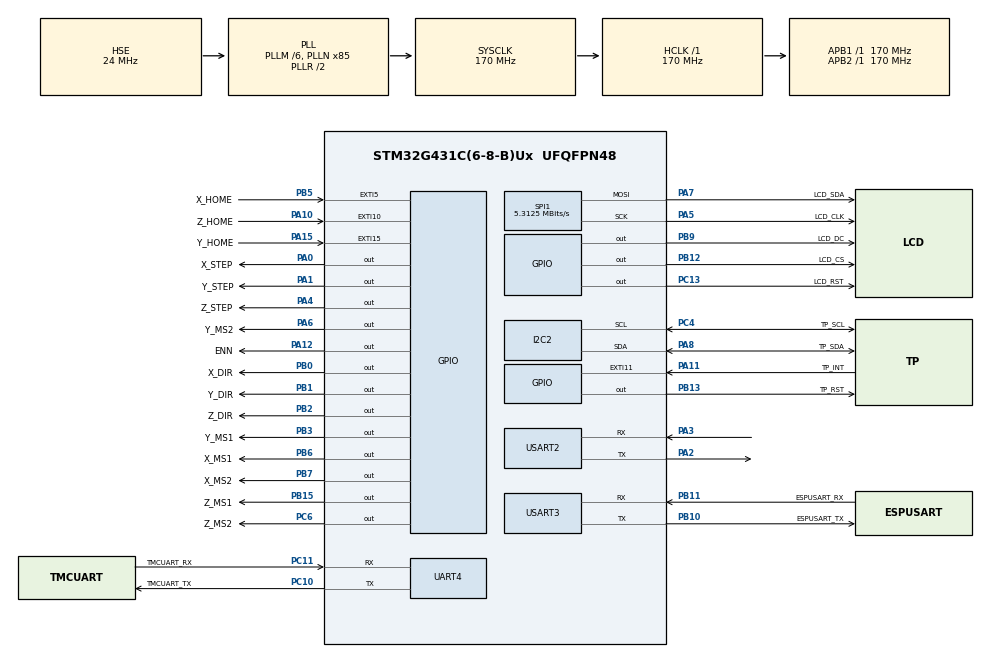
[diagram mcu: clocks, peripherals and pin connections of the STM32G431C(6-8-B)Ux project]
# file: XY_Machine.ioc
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I2C2.Timing=0x30A0A7FB
Mcu.Family=STM32G4
Mcu.Name=STM32G431C(6-8-B)Ux
Mcu.Package=UFQFPN48
NVIC.EXTI15_10_IRQn=true\:0\:0\:false\:false\:true\:true\:true\:true
NVIC.EXTI9_5_IRQn=true\:0\:0\:false\:false\:true\:true\:true\:true
NVIC.PriorityGroup=NVIC_PRIORITYGROUP_4
NVIC.TIM2_IRQn=true\:1\:0\:true\:false\:true\:true\:true\:true
NVIC.TIM4_IRQn=true\:0\:0\:false\:false\:true\:true\:true\:true
NVIC.UART4_IRQn=true\:0\:0\:false\:false\:true\:true\:true\:true
NVIC.USART2_IRQn=true\:0\:0\:false\:false\:true\:true\:true\:true
NVIC.USART3_IRQn=true\:0\:0\:false\:false\:true\:true\:true\:true
PA0.GPIO_Label=X_STEP
PA0.Signal=GPIO_Output
PA1.GPIO_Label=Y_STEP
PA1.Signal=GPIO_Output
PA10.GPIO_Label=Z_HOME
PA10.Signal=GPXTI10
PA11.GPIO_Label=TP_INT
PA11.Signal=GPXTI11
PA12.GPIO_Label=ENN
PA12.PinState=GPIO_PIN_SET
PA12.Signal=GPIO_Output
PA13.Mode=Serial_Wire
PA13.Signal=SYS_JTMS-SWDIO
PA14.Mode=Serial_Wire
PA14.Signal=SYS_JTCK-SWCLK
PA15.GPIO_Label=Y_HOME
PA15.Signal=GPXTI15
PA2.Mode=Asynchronous
PA2.Signal=USART2_TX
PA3.Mode=Asynchronous
PA3.Signal=USART2_RX
PA4.GPIO_Label=Z_STEP
PA4.Signal=GPIO_Output
PA5.GPIO_Label=LCD_CLK
PA5.Mode=TX_Only_Simplex_Unidirect_Master
PA5.Signal=SPI1_SCK
PA6.GPIO_Label=Y_MS2
PA6.Signal=GPIO_Output
PA7.GPIO_Label=LCD_SDA
PA7.Mode=TX_Only_Simplex_Unidirect_Master
PA7.Signal=SPI1_MOSI
PA8.GPIO_Label=TP_SDA
PA8.Mode=I2C
PA8.Signal=I2C2_SDA
PA9.GPIO_Label=LCD_BL
PA9.Signal=S_TIM1_CH2
PB0.GPIO_Label=X_DIR
PB0.Signal=GPIO_Output
PB1.GPIO_Label=Y_DIR
PB1.Signal=GPIO_Output
PB10.GPIO_Label=ESPUSART_TX
PB10.Mode=Asynchronous
PB10.Signal=USART3_TX
PB11.GPIO_Label=ESPUSART_RX
PB11.Mode=Asynchronous
PB11.Signal=USART3_RX
PB12.GPIO_Label=LCD_CS
PB12.Signal=GPIO_Output
PB13.GPIO_Label=TP_RST
PB13.Signal=GPIO_Output
PB14.GPIO_Label=SERVO_PWM
PB14.Signal=S_TIM15_CH1
PB15.GPIO_Label=Z_MS1
PB15.Signal=GPIO_Output
PB2.GPIO_Label=Z_DIR
PB2.Signal=GPIO_Output
PB3.GPIO_Label=Y_MS1
PB3.Signal=GPIO_Output
PB4.GPIO_Label=LASER_PWM
PB4.Signal=S_TIM3_CH1
PB5.GPIO_Label=X_HOME
PB5.Signal=GPXTI5
PB6.GPIO_Label=X_MS1
PB6.Signal=GPIO_Output
PB7.GPIO_Label=X_MS2
PB7.Signal=GPIO_Output
PB9.GPIO_Label=LCD_DC
PB9.Signal=GPIO_Output
PC10.GPIO_Label=TMCUART_TX
PC10.Mode=Asynchronous
PC10.Signal=UART4_TX
PC11.GPIO_Label=TMCUART_RX
PC11.Mode=Asynchronous
PC11.Signal=UART4_RX
PC13.GPIO_Label=LCD_RST
PC13.Signal=GPIO_Output
PC4.GPIO_Label=TP_SCL
PC4.Mode=I2C
PC4.Signal=I2C2_SCL
PC6.GPIO_Label=Z_MS2
PC6.Signal=GPIO_Output
PF0-OSC_IN.Mode=HSE-External-Oscillator
PF0-OSC_IN.Signal=RCC_OSC_IN
PF1-OSC_OUT.Mode=HSE-External-Oscillator
PF1-OSC_OUT.Signal=RCC_OSC_OUT
ProjectManager.HeapSize=0x200
ProjectManager.StackSize=0x400
ProjectManager.TargetToolchain=MDK-ARM V5.32
RCC.ADC12Freq_Value=170000000
RCC.AHBFreq_Value=170000000
RCC.APB1Freq_Value=170000000
RCC.APB1TimFreq_Value=170000000
RCC.APB2Freq_Value=170000000
RCC.APB2TimFreq_Value=170000000
RCC.CortexFreq_Value=170000000
RCC.EXTERNAL_CLOCK_VALUE=12288000
RCC.HCLKFreq_Value=170000000
RCC.HSE_VALUE=24000000
RCC.HSI48_VALUE=48000000
RCC.HSI_VALUE=16000000
RCC.LSE_VALUE=32768
RCC.PLLM=RCC_PLLM_DIV6
RCC.PLLN=85
RCC.PLLSourceVirtual=RCC_PLLSOURCE_HSE
RCC.SYSCLKFreq_VALUE=170000000
RCC.SYSCLKSource=RCC_SYSCLKSOURCE_PLLCLK
RCC.USBFreq_Value=170000000
RCC.VCOOutputFreq_Value=340000000
SH.S_TIM15_CH1.0=TIM15_CH1
SH.S_TIM1_CH2.0=TIM1_CH2
SH.S_TIM3_CH1.0=TIM3_CH1
SPI1.BaudRatePrescaler=SPI_BAUDRATEPRESCALER_32
SPI1.CalculateBaudRate=5.3125 MBits/s
SPI1.Direction=SPI_DIRECTION_2LINES
SPI1.Mode=SPI_MODE_MASTER
SPI1.VirtualType=VM_MASTER
TIM2.PeriodNoDither=1999
TIM2.Prescaler=170-1
TIM4.PeriodNoDither=9
TIM4.Prescaler=169
USART2.VirtualMode-Asynchronous=VM_ASYNC
USART3.VirtualMode-Asynchronous=VM_ASYNC
VP_SYS_VS_DBSignals.Mode=DisableDeadBatterySignals
VP_TIM2_VS_ClockSourceINT.Mode=Internal
VP_TIM4_VS_ClockSourceINT.Mode=Internal
board=custom

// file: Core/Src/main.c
/* USER CODE BEGIN Header */
/**
  ******************************************************************************
  * @file           : main.c
  * @brief          : Main program body
  ******************************************************************************
  * @attention
  *
  * Copyright (c) 2026 STMicroelectronics.
  * All rights reserved.
  *
  * This software is licensed under terms that can be found in the LICENSE file
  * in the root directory of this software component.
  * If no LICENSE file comes with this software, it is provided AS-IS.
  *
  ******************************************************************************
  */
/* USER CODE END Header */
#include "main.h"
#include "i2c.h"
#include "spi.h"
#include "tim.h"
#include "usart.h"
#include "gpio.h"

/* USER CODE BEGIN Includes */

#include "app.h"
#include "board_step_test.h"
#include "MyDelay.h"   //自定义延时函数
#include "stepper.h"   //grbl中步进脉冲相关函数
#include "board_serial.h" // 获取当前自检或GRBL的编译选择
#include "grbl.h" // GRBL启动入口和平台接口
#include "AT24C64.h"

/* USER CODE END Includes */

void SystemClock_Config(void);

int main(void)
{

  /* MCU Configuration--------------------------------------------------------*/

  /* Reset of all peripherals, Initializes the Flash interface and the Systick. */
  HAL_Init();

  /* Configure the system clock */
  SystemClock_Config();

  /* Initialize all configured peripherals */
  MX_GPIO_Init();
  MX_I2C2_Init();
  MX_UART4_Init();
  MX_USART2_UART_Init();
  MX_USART3_UART_Init();
  MX_SPI1_Init();
  MX_TIM2_Init();
  MX_TIM4_Init();
  /* USER CODE BEGIN 2 */

	MyDelay_Init(); //自定义延时函数初始化

#if BOARD_SERIAL_GRBL_RX_ENABLE      //当为1时启动grbl，为0启动板端自检模式

		//GRBL模式下由主入口启动USART2接收，必须在grbl_Start()进入协议循环前调用一次，tmc2209启动在grbl主循环前启动，放在主循环中只执行一次
    if (!board_serial_init())
    {
        board_serial_write("USART2 RX initialization failed.\r\n");

        while (1)
        {
        }
    }

    // USART2接收正常启动后，独立检查AT24C64D是否响应。
//    AT24C64_DebugCheck();
//		AT24C64_DebugWriteRead();

#else     //启动板端自检模式，在board_motor.h中选择

    app_init();   //初始化tmc2209的步进驱动芯片地址，DIR方向，串口中断开启

#endif

  /* USER CODE END 2 */

  /* Infinite loop */
  while (1)
  {

    /* USER CODE BEGIN 3 */

#if BOARD_SERIAL_GRBL_RX_ENABLE

    grbl_Start();   //grbl_Start()内部包含永久协议循环，正常情况下不会返回

    while (1)
    {
    }

#else

    while (1)
    {
        app_process();
    }

#endif

  }
  /* USER CODE END 3 */
}

void SystemClock_Config(void)
{
  RCC_OscInitTypeDef RCC_OscInitStruct = {0};
  RCC_ClkInitTypeDef RCC_ClkInitStruct = {0};

  /** Configure the main internal regulator output voltage
  */
  HAL_PWREx_ControlVoltageScaling(PWR_REGULATOR_VOLTAGE_SCALE1_BOOST);

  /** Initializes the RCC Oscillators according to the specified parameters
  * in the RCC_OscInitTypeDef structure.
  */
  RCC_OscInitStruct.OscillatorType = RCC_OSCILLATORTYPE_HSE;
  RCC_OscInitStruct.HSEState = RCC_HSE_ON;
  RCC_OscInitStruct.PLL.PLLState = RCC_PLL_ON;
  RCC_OscInitStruct.PLL.PLLSource = RCC_PLLSOURCE_HSE;
  RCC_OscInitStruct.PLL.PLLM = RCC_PLLM_DIV6;
  RCC_OscInitStruct.PLL.PLLN = 85;
  RCC_OscInitStruct.PLL.PLLP = RCC_PLLP_DIV2;
  RCC_OscInitStruct.PLL.PLLQ = RCC_PLLQ_DIV2;
  RCC_OscInitStruct.PLL.PLLR = RCC_PLLR_DIV2;
  if (HAL_RCC_OscConfig(&RCC_OscInitStruct) != HAL_OK)
  {
    Error_Handler();
  }

  /** Initializes the CPU, AHB and APB buses clocks
  */
  RCC_ClkInitStruct.ClockType = RCC_CLOCKTYPE_HCLK|RCC_CLOCKTYPE_SYSCLK
                              |RCC_CLOCKTYPE_PCLK1|RCC_CLOCKTYPE_PCLK2;
  RCC_ClkInitStruct.SYSCLKSource = RCC_SYSCLKSOURCE_PLLCLK;
  RCC_ClkInitStruct.AHBCLKDivider = RCC_SYSCLK_DIV1;
  RCC_ClkInitStruct.APB1CLKDivider = RCC_HCLK_DIV1;
  RCC_ClkInitStruct.APB2CLKDivider = RCC_HCLK_DIV1;

  if (HAL_RCC_ClockConfig(&RCC_ClkInitStruct, FLASH_LATENCY_4) != HAL_OK)
  {
    Error_Handler();
  }
}

/* USER CODE BEGIN 4 */

/*
 * TIM2负责步进调度，TIM4负责结束STEP高电平脉冲。
 * 两个定时器必须交给同一个控制模块，不能根据当前是否忙碌临时切换。
 */
void HAL_TIM_PeriodElapsedCallback(TIM_HandleTypeDef *htim)
{
    if (htim->Instance == TIM2)
    {
#if BOARD_SERIAL_GRBL_RX_ENABLE
        stepper_timer_interrupt(); // GRBL：推进步进执行流程。
#else
        board_step_test_tim2_irq(); // 自检：按测试参数产生STEP脉冲。
#endif
    }
    else if (htim->Instance == TIM4)
    {
#if BOARD_SERIAL_GRBL_RX_ENABLE
        pulse_width_timer_interrupt(); // GRBL：将STEP恢复为空闲电平。
#else
        board_step_test_tim4_irq(); // 自检：结束本次STEP高电平脉冲。
#endif
    }
}

/* USER CODE END 4 */

void Error_Handler(void)
{
  __disable_irq();
  while (1)
  {
  }
}
